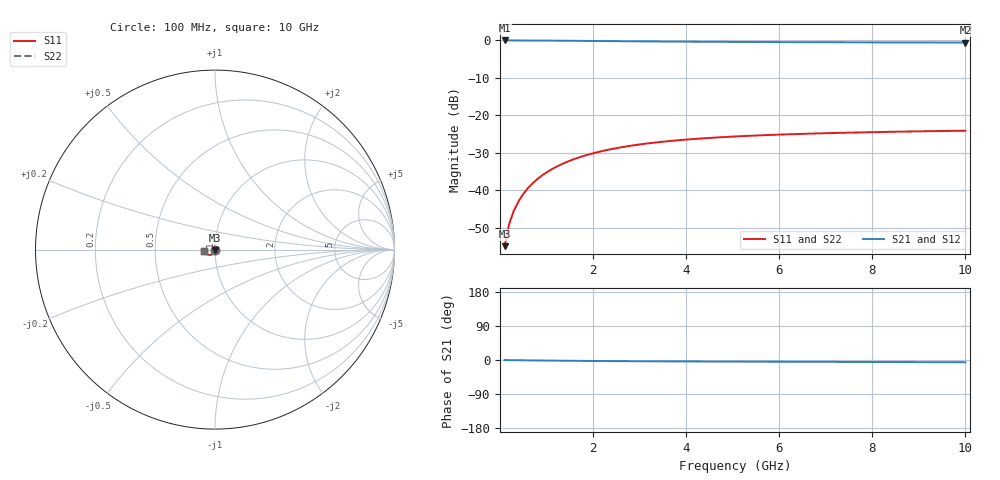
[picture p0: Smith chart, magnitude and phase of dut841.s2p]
! Touchstone file exported from HFSS 2024.1.0
!  File:  C:/UserFiles/LocalFiles/RDL_TSV_Batchsim/temp_TSV1_841_1779880134.aedt
!  Generated:  07:14:32 PM May 27, 2026
!  Design:  TSV1
!  Project:  temp_TSV1_841_1779880134
!  Setup:  Setup1
!  Solution:  Sweep
! Variables:
!  dtsv = 12.44um
!  hbump = 3um
!  htsv = 93.57um
!  lrdl = 252.1521522um
!  p = 40
!  p1 = 50.84um
!  t = 500um
!  trdl = 3um
!  wrdl = 24.89489489um
# GHz S MA R 50.000000
! Terminal data exported
! Port[1] = TSV22_T1
! Port[2] = TSV22_T2
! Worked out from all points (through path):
!   100 points, 100 MHz to 10 GHz, reference 50 ohm
!   highest |S21| = 0.00 dB at 100 MHz (marker M1); lowest = -0.6 dB at 10 GHz (marker M2)
!   lowest |S11| = -55.0 dB at 100 MHz (marker M3), VSWR 1.00, Z = 50 - j0.178 ohm
!   |S11| at or under -10 dB: start of sweep to end of sweep
!   |S22| runs from -55.0 to -24.1 dB; largest |S21 - S12| = 5.4e-15
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0.1  0.001784 -88.4  0.9998 -0.2  0.9998 -0.2  0.001784 -88.4
! Gamma 0 0 0 0
! Port Impedance 50 0 50 0
0.2  0.003563 -91.7  0.9997 -0.3  0.9997 -0.3  0.003563 -91.7
0.3  0.005341 -93.9  0.9994 -0.5  0.9994 -0.5  0.005341 -93.9
0.4  0.007111 -95.9  0.999 -0.6  0.999 -0.6  0.007111 -95.9
0.5  0.008866 -97.7  0.9985 -0.8  0.9985 -0.8  0.008866 -97.7
0.6  0.0106 -99.6  0.9979 -0.9  0.9979 -0.9  0.0106 -99.6
0.7  0.01231 -101.4  0.9972 -1.1  0.9972 -1.1  0.01231 -101.4
0.8  0.01399 -103.1  0.9965 -1.2  0.9965 -1.2  0.01399 -103.1
0.9  0.01564 -104.8  0.9957 -1.3  0.9957 -1.3  0.01564 -104.8
1.1  0.01882 -108.2  0.9939 -1.6  0.9939 -1.6  0.01882 -108.2
1.4  0.0233 -112.9  0.9907 -2.0  0.9907 -2.0  0.0233 -112.9
1.6  0.02607 -115.9  0.9885 -2.2  0.9885 -2.2  0.02607 -115.9
1.8  0.02866 -118.8  0.9862 -2.4  0.9862 -2.4  0.02866 -118.8
2.1  0.03221 -122.8  0.9826 -2.7  0.9826 -2.7  0.03221 -122.8
2.5  0.03638 -127.7  0.9779 -3.0  0.9779 -3.0  0.03638 -127.7
2.9  0.03995 -132.1  0.9735 -3.3  0.9735 -3.3  0.03995 -132.1
3.4  0.04369 -137.0  0.9684 -3.5  0.9684 -3.5  0.04369 -137.0
4.2  0.04838 -143.6  0.9614 -3.9  0.9614 -3.9  0.04838 -143.6
5.1  0.05227 -149.7  0.9552 -4.3  0.9552 -4.3  0.05227 -149.7
6.7  0.05696 -158.2  0.9472 -4.8  0.9472 -4.8  0.05696 -158.2
8.4  0.06015 -165.1  0.9416 -5.4  0.9416 -5.4  0.06015 -165.1
10  0.06222 -170.4  0.938 -5.9  0.938 -5.9  0.06222 -170.4
